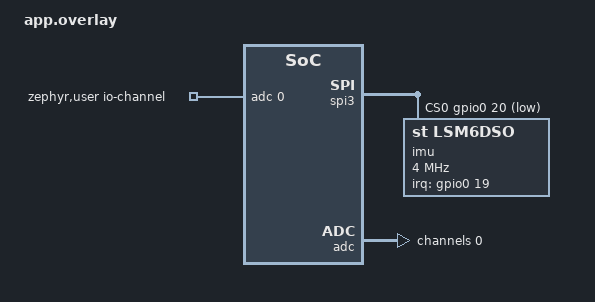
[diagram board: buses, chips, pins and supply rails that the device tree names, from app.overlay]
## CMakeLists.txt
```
cmake_minimum_required(VERSION 3.20.0)

find_package(Zephyr REQUIRED HINTS $ENV{ZEPHYR_BASE})
project(wearable_nrf)

set(CORE_DIR ${CMAKE_CURRENT_SOURCE_DIR}/../core)

target_sources(app PRIVATE
    src/main.c
    src/imu.c
    ${CORE_DIR}/crc16.c
    ${CORE_DIR}/packet.c
    ${CORE_DIR}/ringbuffer.c
    ${CORE_DIR}/builder.c
)

target_include_directories(app PRIVATE ${CORE_DIR})
```

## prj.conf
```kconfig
CONFIG_GPIO=y
CONFIG_SPI=y
CONFIG_ADC=y
CONFIG_PRINTK=y
```

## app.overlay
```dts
#include <zephyr/dt-bindings/adc/adc.h>
#include <zephyr/dt-bindings/adc/nrf-saadc.h>

/ {
	zephyr,user {
		io-channels = <&adc 0>;
	};
};

&pinctrl {
	spi3_default: spi3_default {
		group1 {
			psels = <NRF_PSEL(SPIM_SCK, 0, 23)>,
				<NRF_PSEL(SPIM_MISO, 0, 22)>,
				<NRF_PSEL(SPIM_MOSI, 0, 21)>;
		};
	};

	spi3_sleep: spi3_sleep {
		group1 {
			psels = <NRF_PSEL(SPIM_SCK, 0, 23)>,
				<NRF_PSEL(SPIM_MISO, 0, 22)>,
				<NRF_PSEL(SPIM_MOSI, 0, 21)>;
			low-power-enable;
		};
	};
};

&spi3 {
	status = "okay";
	cs-gpios = <&gpio0 20 GPIO_ACTIVE_LOW>;

	imu: lsm6dso@0 {
		compatible = "st,lsm6dso";
		reg = <0>;
		spi-max-frequency = <4000000>;
		spi-cpol;
		spi-cpha;
		irq-gpios = <&gpio0 19 (GPIO_ACTIVE_HIGH | GPIO_PULL_DOWN)>;
	};
};

&adc {
	#address-cells = <1>;
	#size-cells = <0>;
	status = "okay";

	channel@0 {
		reg = <0>;
		zephyr,gain = "ADC_GAIN_1_6";
		zephyr,reference = "ADC_REF_INTERNAL";
		zephyr,acquisition-time = <ADC_ACQ_TIME_DEFAULT>;
		zephyr,input-positive = <NRF_SAADC_VDD>;
		zephyr,resolution = <12>;
		zephyr,oversampling = <2>;
	};
};
```

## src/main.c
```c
#include <zephyr/kernel.h>
#include <zephyr/drivers/adc.h>
#include <zephyr/drivers/gpio.h>
#include <zephyr/sys/printk.h>

#include "imu.h"
#include "packet.h"
#include "ringbuffer.h"
#include "builder.h"
#include "ble_payload.h"

#define TICK_MS 50
#define TICKS_PER_SEC (1000 / TICK_MS)
#define LOW_BATT_MV 3400

#define IMU_STACK_SIZE 1024
#define IMU_PRIORITY K_PRIO_COOP(7)

static ringbuf_t rb;
static builder_t builder;
static volatile uint32_t isr_count;

static const struct gpio_dt_spec led = GPIO_DT_SPEC_GET(DT_ALIAS(led0), gpios);
static const struct adc_dt_spec batt_adc = ADC_DT_SPEC_GET(DT_PATH(zephyr_user));

K_SEM_DEFINE(drdy_sem, 0, 1);
K_TIMER_DEFINE(tick_timer, NULL, NULL);

__weak void ble_set_payload(const uint8_t *buf, size_t len) {
    ARG_UNUSED(buf);
    ARG_UNUSED(len);
}

static void on_drdy(void) {
    isr_count++;
    k_sem_give(&drdy_sem);
}

static void imu_thread(void *p1, void *p2, void *p3) {
    ARG_UNUSED(p1);
    ARG_UNUSED(p2);
    ARG_UNUSED(p3);

    imu_sample_t s;
    while (true) {
        k_sem_take(&drdy_sem, K_FOREVER);
        imu_read(&s);
        rb_push(&rb, &s);
    }
}

K_THREAD_DEFINE(imu_tid, IMU_STACK_SIZE, imu_thread, NULL, NULL, NULL, IMU_PRIORITY, 0, 0);

static bool batt_init(void) {
    return adc_is_ready_dt(&batt_adc) && adc_channel_setup_dt(&batt_adc) == 0;
}

static bool batt_read_mv(uint32_t *mv) {
    int16_t raw;
    struct adc_sequence seq = {
        .buffer = &raw,
        .buffer_size = sizeof raw,
    };
    if (adc_sequence_init_dt(&batt_adc, &seq) < 0 || adc_read_dt(&batt_adc, &seq) < 0) {
        return false;
    }
    int32_t val = raw;
    if (adc_raw_to_millivolts_dt(&batt_adc, &val) < 0) {
        return false;
    }
    *mv = val < 0 ? 0 : (uint32_t)val;
    return true;
}

static uint8_t batt_byte(uint32_t mv) {
    if (mv <= 2500) {
        return 0;
    }
    uint32_t v = (mv - 2500) / 10;
    return v > 255 ? 255 : (uint8_t)v;
}

int main(void) {
    gpio_pin_configure_dt(&led, GPIO_OUTPUT_INACTIVE);

    bool have_batt = batt_init();
    if (!have_batt) {
        printk("batt: adc not ready\n");
    }

    rb_init(&rb);
    builder_init(&builder);

    imu_irq_setup(on_drdy);
    bool imu_alive = imu_init();
    printk("imu_init = %d\n", imu_alive);
    if (imu_alive) {
        imu_irq_enable(true);
    }

    packet_t pkt;
    uint8_t buf[PKT_MAX_LEN];
    uint32_t tick = 0;
    int empty_streak = 0;
    uint32_t mv = 0;
    if (have_batt) {
        batt_read_mv(&mv);
    }

    k_timer_start(&tick_timer, K_MSEC(TICK_MS), K_MSEC(TICK_MS));

    while (true) {
        k_timer_status_sync(&tick_timer);
        tick++;

        if (tick % TICKS_PER_SEC == 0) {
            if (imu_alive) {
                imu_alive = imu_ok() && empty_streak < TICKS_PER_SEC;
            }
            if (!imu_alive) {
                imu_irq_enable(false);
                imu_alive = imu_init();
                if (imu_alive) {
                    empty_streak = 0;
                    imu_irq_enable(true);
                }
                printk("imu reinit: %d\n", imu_alive);
            }
            if (have_batt) {
                batt_read_mv(&mv);
            }
        }

        uint8_t extra = 0;
        if (!imu_alive) {
            extra |= PKT_FLAG_IMU_ERR;
        }
        if (mv < LOW_BATT_MV) {
            extra |= PKT_FLAG_LOW_BATT;
        }

        builder_build(&builder, &rb, k_uptime_get_32(), batt_byte(mv), extra, &pkt);

        empty_streak = (pkt.n == 0) ? empty_streak + 1 : 0;
        if (empty_streak >= 2) {
            pkt.flags |= PKT_FLAG_IMU_ERR;
        }

        int len = packet_encode(&pkt, buf, sizeof buf);
        if (len > 0) {
            ble_set_payload(buf, (size_t)len);
        }

        if (tick % 10 == 0) {
            gpio_pin_toggle_dt(&led);
        }

        if (tick % TICKS_PER_SEC == 0) {
            printk("seq = %u | n = %u | mv = %u | flags = 0x%02x | ovr = %u | isr_count = %u\n",
                   pkt.seq, pkt.n, mv, pkt.flags, rb_overruns(&rb), isr_count);
        }
    }
    return 0;
}
```

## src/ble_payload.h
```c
#pragma once

#include <stddef.h>
#include <stdint.h>

void ble_set_payload(const uint8_t *buf, size_t len);
```

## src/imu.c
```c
#include "imu.h"

#include <zephyr/kernel.h>
#include <zephyr/drivers/gpio.h>
#include <zephyr/drivers/spi.h>
#include <zephyr/sys/printk.h>

#define IMU_NODE DT_NODELABEL(imu)

#define REG_COUNTER_BDR1 0x0B
#define REG_INT1_CTRL 0x0D
#define REG_WHO_AM_I 0x0F
#define REG_CTRL1_XL 0x10
#define REG_CTRL2_G 0x11
#define REG_CTRL3_C 0x12
#define REG_OUTX_L_G 0x22
#define WHO_AM_I_VALUE 0x6C

#define CTRL1_XL_VAL 0x4C
#define CTRL2_G_VAL 0x4C
#define CTRL3_C_RESET 0x01
#define CTRL3_C_VAL 0x44
#define COUNTER_BDR1_VAL 0x80
#define INT1_CTRL_VAL 0x01

#define BURST_LEN 12

static const struct spi_dt_spec bus =
    SPI_DT_SPEC_GET(IMU_NODE, SPI_OP_MODE_MASTER | SPI_WORD_SET(8) | SPI_TRANSFER_MSB);
static const struct gpio_dt_spec int1 = GPIO_DT_SPEC_GET(IMU_NODE, irq_gpios);

static struct gpio_callback int1_cb;
static void (*int1_handler)(void);

K_MUTEX_DEFINE(imu_lock);

static int xfer(const uint8_t *tx, uint8_t *rx, size_t len) {
    const struct spi_buf tx_buf = {.buf = (void *)tx, .len = len};
    const struct spi_buf rx_buf = {.buf = rx, .len = len};
    const struct spi_buf_set tx_set = {.buffers = &tx_buf, .count = 1};
    const struct spi_buf_set rx_set = {.buffers = &rx_buf, .count = 1};
    return spi_transceive_dt(&bus, &tx_set, rx ? &rx_set : NULL);
}

static uint8_t reg_read(uint8_t reg) {
    uint8_t tx[2] = {reg | 0x80, 0x00};
    uint8_t rx[2] = {0};
    xfer(tx, rx, sizeof tx);
    return rx[1];
}

static void reg_write(uint8_t reg, uint8_t val) {
    uint8_t tx[2] = {reg & 0x7F, val};
    xfer(tx, NULL, sizeof tx);
}

static void burst_read(uint8_t reg, uint8_t *rx) {
    uint8_t tx[1 + BURST_LEN] = {reg | 0x80};
    xfer(tx, rx, sizeof tx);
}

static const uint8_t cfg[][2] = {
    {REG_CTRL3_C, CTRL3_C_VAL},
    {REG_CTRL1_XL, CTRL1_XL_VAL},
    {REG_CTRL2_G, CTRL2_G_VAL},
    {REG_COUNTER_BDR1, COUNTER_BDR1_VAL},
    {REG_INT1_CTRL, INT1_CTRL_VAL},
};
#define N_CFG ARRAY_SIZE(cfg)

static bool configure(void) {
    uint8_t id = reg_read(REG_WHO_AM_I);
    if (id != WHO_AM_I_VALUE) {
        printk("imu: WHO_AM_I=0x%02x\n", id);
        return false;
    }

    reg_write(REG_CTRL3_C, CTRL3_C_RESET);
    int tries = 0;
    while (reg_read(REG_CTRL3_C) & CTRL3_C_RESET) {
        if (++tries > 10) {
            printk("imu: reset stuck\n");
            return false;
        }
        k_msleep(1);
    }

    for (size_t i = 0; i < N_CFG; i++) {
        reg_write(cfg[i][0], cfg[i][1]);
    }

    for (size_t i = 0; i < N_CFG; i++) {
        uint8_t got = reg_read(cfg[i][0]);
        if (got != cfg[i][1]) {
            printk("imu: reg 0x%02x = 0x%02x, want 0x%02x\n", cfg[i][0], got, cfg[i][1]);
            return false;
        }
    }
    return true;
}

bool imu_init(void) {
    if (!spi_is_ready_dt(&bus) || !gpio_is_ready_dt(&int1)) {
        printk("imu: bus not ready\n");
        return false;
    }
    if (gpio_pin_configure_dt(&int1, GPIO_INPUT) < 0) {
        return false;
    }
    printk("imu: spi %u Hz\n", bus.config.frequency);

    k_msleep(20);

    k_mutex_lock(&imu_lock, K_FOREVER);
    bool ok = configure();
    k_mutex_unlock(&imu_lock);
    return ok;
}

static inline int16_t le16(const uint8_t *p) {
    return (int16_t)(uint16_t)(p[0] | (p[1] << 8));
}

void imu_read(imu_sample_t *s) {
    uint8_t rx[1 + BURST_LEN] = {0};
    k_mutex_lock(&imu_lock, K_FOREVER);
    burst_read(REG_OUTX_L_G, rx);
    k_mutex_unlock(&imu_lock);
    const uint8_t *d = &rx[1];

    s->ax = le16(&d[6]);
    s->ay = le16(&d[8]);
    s->az = le16(&d[10]);

    s->gx = le16(&d[0]);
    s->gy = le16(&d[2]);
    s->gz = le16(&d[4]);
}

bool imu_ok(void) {
    k_mutex_lock(&imu_lock, K_FOREVER);
    uint8_t id = reg_read(REG_WHO_AM_I);
    k_mutex_unlock(&imu_lock);
    return id == WHO_AM_I_VALUE;
}

static void int1_isr(const struct device *dev, struct gpio_callback *cb, uint32_t pins) {
    ARG_UNUSED(dev);
    ARG_UNUSED(cb);
    ARG_UNUSED(pins);
    if (int1_handler) {
        int1_handler();
    }
}

int imu_irq_setup(void (*handler)(void)) {
    int1_handler = handler;
    gpio_init_callback(&int1_cb, int1_isr, BIT(int1.pin));
    return gpio_add_callback_dt(&int1, &int1_cb);
}

void imu_irq_enable(bool on) {
    gpio_pin_interrupt_configure_dt(&int1, on ? GPIO_INT_EDGE_TO_ACTIVE : GPIO_INT_DISABLE);
}
```

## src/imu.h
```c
#pragma once

#include <stdbool.h>
#include "packet.h"

bool imu_init(void);
void imu_read(imu_sample_t *s);
bool imu_ok(void);

int imu_irq_setup(void (*handler)(void));
void imu_irq_enable(bool on);
```
